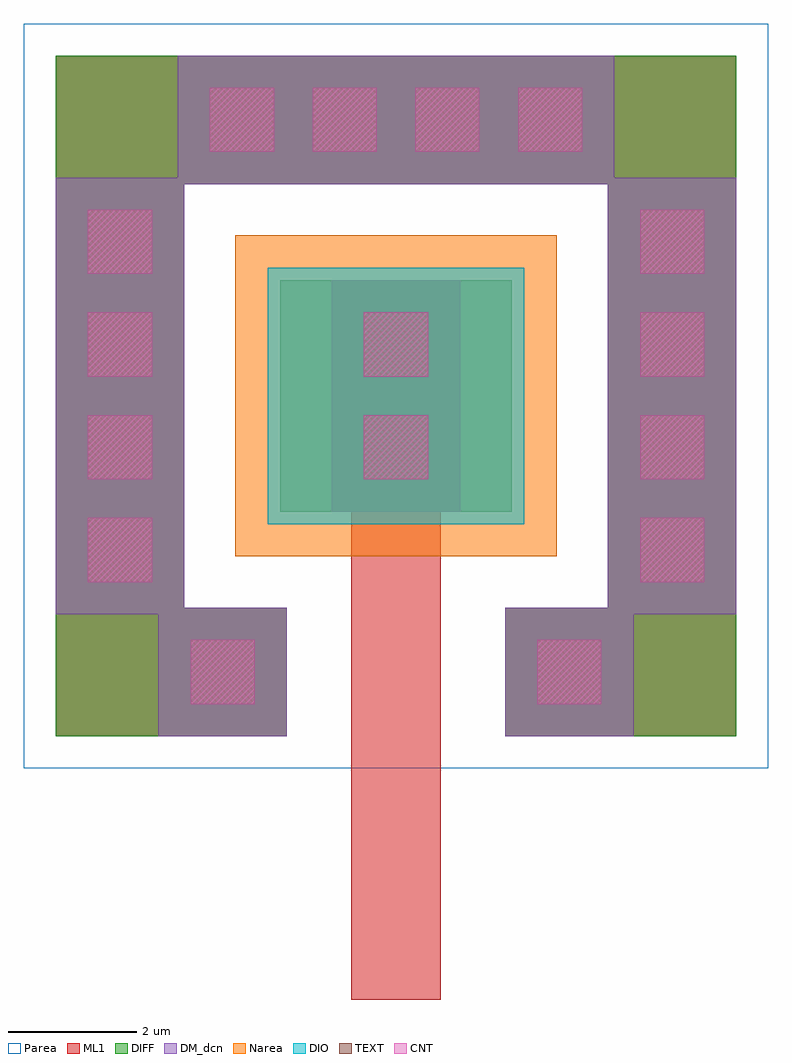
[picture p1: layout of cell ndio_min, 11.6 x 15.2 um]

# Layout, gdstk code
import gdstk
lib = gdstk.Library(unit=1e-6, precision=1e-09)
def R(c, l, rs):  # rectangles x0, y0, x1, y1
    for r in rs: c.add(gdstk.rectangle(r[:2], r[2:], *l))
DIFF = (3, 0)
CNT = (7, 0)
ML1 = (8, 0)
TEXT = (13, 0)
DIO = (17, 0)
Parea = (18, 0)
Narea = (19, 0)
DM_dcn = (101, 0)

dcont_1 = lib.new_cell('dcont$1')
R(dcont_1, DIFF, [(-1,-1,1,1)])
R(dcont_1, CNT, [(-0.5,-0.5,0.5,0.5)])
R(dcont_1, ML1, [(-1,-1,1,1)])
R(dcont_1, TEXT, [(-0.5,-0.5,0.5,0.5)])
R(dcont_1, DM_dcn, [(-1,-1,1,1)])

diode_common = lib.new_cell('DIODE_COMMON')
R(diode_common, DIFF, [(3.8,4.3,7.4,7.9)])
diode_common.add(gdstk.FlexPath([(8.3,1.8),(9.9,1.8),(9.9,10.4),(1.3,10.4),(1.3,1.8),(2.9,1.8)], 2, ends="extended", simple_path=True, layer=8, datatype=0))  # ML1
diode_common.add(gdstk.FlexPath([(5.6,7.8),(5.6,-3.3)], 1.4, ends="flush", simple_path=True, layer=8, datatype=0))  # ML1
diode_common.add(gdstk.FlexPath([(8.3,1.8),(9.9,1.8),(9.9,10.4),(1.3,10.4),(1.3,1.8),(2.9,1.8)], 2, ends="extended", simple_path=True, layer=3, datatype=0))  # DIFF
diode_common.add(gdstk.Reference(dcont_1, (2.9,1.8)))
diode_common.add(gdstk.Reference(dcont_1, (8.3,1.8)))
diode_common.add(gdstk.Reference(dcont_1, (9.9,3.7)))
diode_common.add(gdstk.Reference(dcont_1, (1.3,5.3)))
diode_common.add(gdstk.Reference(dcont_1, (9.9,5.3)))
diode_common.add(gdstk.Reference(dcont_1, (1.3,6.9)))
diode_common.add(gdstk.Reference(dcont_1, (9.9,6.9)))
diode_common.add(gdstk.Reference(dcont_1, (1.3,8.5)))
diode_common.add(gdstk.Reference(dcont_1, (9.9,8.5)))
r = gdstk.Reference(dcont_1, (3.2,10.4)); r.repetition = gdstk.Repetition(4, 1, v1=(1.6,0), v2=(0,0)); diode_common.add(r)
diode_common.add(gdstk.Reference(dcont_1, (1.3,3.7)))

ndio_min = lib.new_cell('ndio_min')
R(ndio_min, ML1, [(5.2,4.4,7,7.8)])
R(ndio_min, DIO, [(4.1,4.1,8.1,8.1)])
R(ndio_min, Parea, [(0.3,0.3,11.9,11.9), (3.1,3.1,9.1,9.1)])
R(ndio_min, Narea, [(3.6,3.6,8.6,8.6)])
ndio_min.add(gdstk.Reference(diode_common, (0.5,0)))
r = gdstk.Reference(dcont_1, (6.1,5.3)); r.repetition = gdstk.Repetition(1, 2, v1=(0,0), v2=(0,1.6)); ndio_min.add(r)

lib.write_gds('ndio_min.gds')
